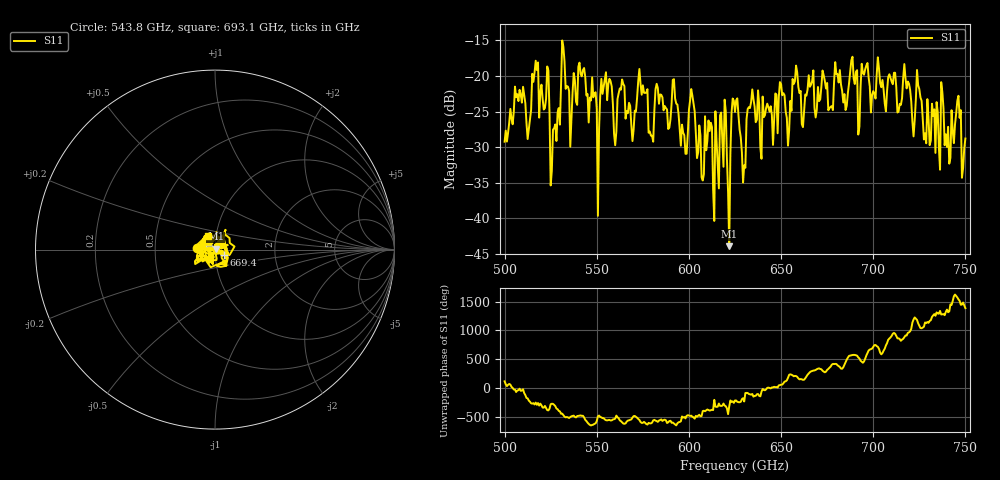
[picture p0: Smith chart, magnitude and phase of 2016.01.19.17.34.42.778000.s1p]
!Created with skrf (http://scikit-rf.org).
# GHz S RI R 50.0
!freq ReS11 ImS11
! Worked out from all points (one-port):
!   401 points, 500 GHz to 750 GHz, reference 50 ohm
!   lowest |S11| = -43.9 dB at 621.9 GHz (marker M1), VSWR 1.01, Z = 50.4 + j0.473 ohm
!   |S11| at or under -10 dB: start of sweep to end of sweep
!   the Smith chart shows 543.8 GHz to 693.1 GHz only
!   S11 on the Smith chart (normalised r, x): 543.8 GHz: 0.82, +0.02; 669.4 GHz: 1.10, -0.06; 693.1 GHz: 0.92, +0.14
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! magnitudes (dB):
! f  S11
! 500 GHz  -29.2
! 506.9 GHz  -22.6
! 513.1 GHz  -27.5
! 516.9 GHz  -17.9
! 526.2 GHz  -27.5
! 531.2 GHz  -15.0
! 543.8 GHz  -20.1
! 550.6 GHz  -39.7
! 553.8 GHz  -21.5
! 560 GHz  -29.7
! 562.5 GHz  -21.7
! 570 GHz  -27.5
! 573.8 GHz  -21.1
! 579.4 GHz  -28.4
! 583.1 GHz  -21.7
! 593.8 GHz  -24.0
! 614.4 GHz  -25.0
! 618.8 GHz  -32.8
! 621.9 GHz  -43.9
! 625 GHz  -25.1
! 629.4 GHz  -35.0
! 633.8 GHz  -23.6
! 656.2 GHz  -20.4
! 669.4 GHz  -24.8
! 687.5 GHz  -19.5
! 693.1 GHz  -21.6
! 718.8 GHz  -20.8
! 750 GHz  -28.8
